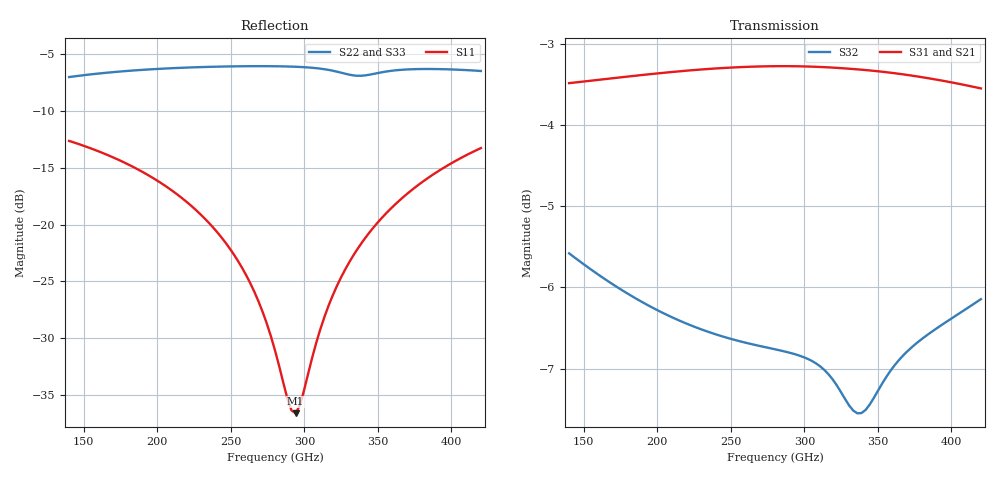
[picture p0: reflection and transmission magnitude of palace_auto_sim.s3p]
#  GHZ S DB R 50
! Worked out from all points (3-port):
!   101 points, 140 GHz to 420 GHz, reference 50 ohm
!   strongest paths, dB at 140 GHz, 210 GHz, 280 GHz, 350 GHz, 420 GHz:
!     S31: -3.5, -3.3, -3.3, -3.3, -3.6
!     S21: -3.5, -3.4, -3.3, -3.4, -3.6
!     S32: -5.6, -6.4, -6.8, -7.3, -6.1
!   lowest |S11| = -36.6 dB at 294 GHz (marker M1), VSWR 1.03, Z = 51.5 - j0.223 ohm
!   |S11| at or under -10 dB: start of sweep to end of sweep
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140  -12.64 133.4  -3.49 -43.6  -3.49 -43.6
     -3.49 -43.6  -7.03 52.1  -5.58 -97.0
     -3.49 -43.6  -5.58 -97.0  -7.05 52.1
193.2  -15.61 114.6  -3.39 -60.8  -3.38 -60.7
       -3.39 -60.8  -6.36 26.8  -6.21 -128.8
       -3.38 -60.7  -6.21 -128.8  -6.39 26.7
232.4  -19.49 98.8  -3.33 -73.7  -3.32 -73.7
       -3.33 -73.7  -6.14 11.2  -6.53 -151.5
       -3.32 -73.7  -6.53 -151.5  -6.17 11.1
260.4  -24.46 83.2  -3.31 -83.0  -3.29 -83.1
       -3.31 -83.0  -6.07 0.9  -6.68 -167.7
       -3.29 -83.1  -6.68 -167.7  -6.11 0.8
280  -31.07 59.0  -3.30 -89.6  -3.28 -89.7
     -3.30 -89.6  -6.08 -6.2  -6.76 -179.1
     -3.28 -89.7  -6.76 -179.1  -6.12 -6.3
294  -36.60 -8.4  -3.30 -94.4  -3.28 -94.4
     -3.30 -94.4  -6.12 -11.3  -6.82 172.5
     -3.28 -94.4  -6.82 172.5  -6.16 -11.4
316.4  -27.14 -81.9  -3.31 -102.0  -3.29 -102.0
       -3.31 -102.0  -6.40 -19.6  -7.07 158.9
       -3.29 -102.0  -7.07 158.9  -6.44 -19.8
338.8  -21.64 -98.8  -3.35 -109.5  -3.32 -109.6
       -3.35 -109.5  -6.91 -23.6  -7.54 149.3
       -3.32 -109.6  -7.54 149.3  -6.97 -23.8
372.4  -17.02 -114.4  -3.42 -120.9  -3.39 -121.0
       -3.42 -120.9  -6.34 -33.4  -6.74 132.5
       -3.39 -121.0  -6.74 132.5  -6.41 -33.6
420  -13.27 -132.6  -3.58 -136.7  -3.55 -136.9
     -3.58 -136.7  -6.49 -53.5  -6.14 103.4
     -3.55 -136.9  -6.14 103.4  -6.56 -53.7
